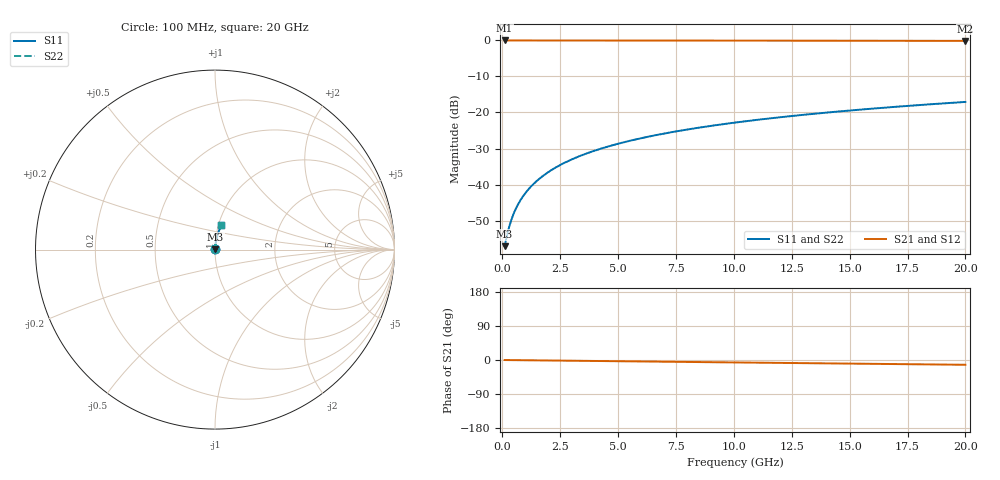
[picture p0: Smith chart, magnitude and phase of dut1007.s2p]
! Touchstone file exported from HFSS 2026.1.0
!  File:  C:/ffzhzh/LocalFiles/Ansys_Project_Files/temp_train_TMRDL_1007_1783159616_55132.aedt
!  Generated:  06:08:04 PM Jul  4, 2026
!  Design:  TMRDL
!  Project:  temp_train_TMRDL_1007_1783159616_55132
! Variables:
!  h_bsmrdl = 2um
!  h_ox = 20um
!  h_rdl = 5um
!  h_sub = 80um
!  h_tmrdl = 5.05um
!  h_tsv = 80um
!  h_via = 3um
!  l_bsmrdl = 300um
!  l_sub = 554.51um
!  l_tmrdl = 154.51um
!  m_sub = 200um
!  pitch = 32.93um
!  r_tsv = 6um
!  s_tmrdl = 10um
!  w_bsmrdl = 18um
!  w_sub = 500um
!  w_tmrdl = 10.22um
!  x_tsv_center1 = 159.62um
!  x_tsv_center2 = 477.62um
!  x_tsv_center3 = 642.35um
!  x_tsv_center4 = 960.35um
!  x_tsv_center5 = 1125.08um
!  x_tsv_center6 = 1443.08um
# GHz S MA R 50.000000
! Terminal data exported
! Port[1] = TM_RDL1_1_T1
! Port[2] = TM_RDL1_1_T2
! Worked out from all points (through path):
!   200 points, 100 MHz to 20 GHz, reference 50 ohm
!   highest |S21| = -0.01 dB at 100 MHz (marker M1); lowest = -0.1 dB at 20 GHz (marker M2)
!   group delay of S21, straight-line fit = 1.75 ps
!   lowest |S11| = -57.1 dB at 100 MHz (marker M3), VSWR 1.00, Z = 50.1 + j0.0781 ohm
!   |S11| at or under -10 dB: start of sweep to end of sweep
!   |S22| runs from -57.1 to -17.1 dB; largest |S21 - S12| = 3.1e-15
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0.1  0.001396 33.9  0.9988 -0.1  0.9988 -0.1  0.001396 33.9
! Gamma 0 0 0 0
! Port Impedance 50 0 50 0
0.2  0.001949 52.7  0.9988 -0.1  0.9988 -0.1  0.001949 52.7
0.3  0.002609 62.3  0.9988 -0.2  0.9988 -0.2  0.002609 62.3
0.4  0.003305 67.9  0.9988 -0.3  0.9988 -0.3  0.003305 67.9
0.5  0.004015 71.5  0.9987 -0.3  0.9987 -0.3  0.004015 71.5
0.6  0.004732 74.0  0.9987 -0.4  0.9987 -0.4  0.004732 74.0
0.8  0.006179 77.3  0.9987 -0.5  0.9987 -0.5  0.006179 77.3
1.1  0.008369 80.0  0.9986 -0.7  0.9986 -0.7  0.008369 80.0
1.5  0.01131 81.9  0.9985 -1.0  0.9985 -1.0  0.01131 81.9
1.8  0.01351 82.7  0.9985 -1.2  0.9985 -1.2  0.01351 82.7
2.1  0.01572 83.1  0.9984 -1.4  0.9984 -1.4  0.01572 83.1
2.7  0.02013 83.6  0.9982 -1.8  0.9982 -1.8  0.02013 83.6
3.5  0.02598 83.8  0.9979 -2.3  0.9979 -2.3  0.02598 83.8
4.2  0.03106 83.6  0.9976 -2.7  0.9976 -2.7  0.03106 83.6
5  0.03683 83.4  0.9972 -3.2  0.9972 -3.2  0.03683 83.4
5.9  0.04327 83.0  0.9967 -3.8  0.9967 -3.8  0.04327 83.0
6.8  0.04966 82.6  0.9961 -4.4  0.9961 -4.4  0.04966 82.6
8.3  0.06022 81.8  0.9952 -5.3  0.9952 -5.3  0.06022 81.8
10.1  0.07278 80.9  0.994 -6.5  0.994 -6.5  0.07278 80.9
13.4  0.09554 79.1  0.9915 -8.5  0.9915 -8.5  0.09554 79.1
16.7  0.118 77.3  0.9886 -10.6  0.9886 -10.6  0.118 77.3
20  0.1401 75.4  0.9853 -12.6  0.9853 -12.6  0.1401 75.4
